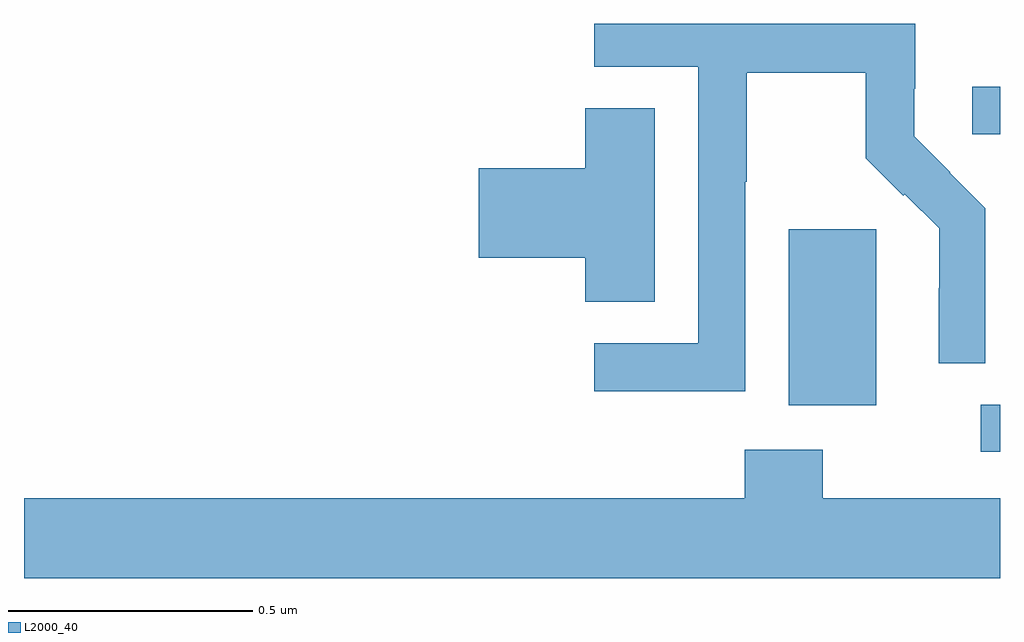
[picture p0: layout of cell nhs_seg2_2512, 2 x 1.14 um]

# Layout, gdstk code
import gdstk
lib = gdstk.Library(unit=1e-6, precision=1e-09)
def R(c, l, rs):  # rectangles x0, y0, x1, y1
    for r in rs: c.add(gdstk.rectangle(r[:2], r[2:], *l))
def P(c, l, *ps):  # polygons
    for p in ps: c.add(gdstk.Polygon(p, *l))
L2000_40 = (2000, 40)

nhs_seg2_2512 = lib.new_cell('nhs_seg2_2512')
R(nhs_seg2_2512, L2000_40, [(143.961,619.923,144,620.019), (143.567,620.018,143.746,620.379), (143.943,620.574,144,620.671)])
P(nhs_seg2_2512, L2000_40, [(143.478,620.476),(143.481,620.476),(143.481,620.7),(143.725,620.7),(143.725,620.525),(143.802,620.448),(143.805,620.451),(143.876,620.381),(143.876,620.258),(143.874,620.258),(143.874,620.104),(143.97,620.104),(143.97,620.422),(143.897,620.495),(143.898,620.496),(143.824,620.57),(143.824,620.667),(143.826,620.667),(143.826,620.8),(143.169,620.8),(143.169,620.712),(143.382,620.712),(143.382,620.145),(143.169,620.145),(143.169,620.047),(143.478,620.047)],
  [(143.293,620.627),(143.15,620.627),(143.15,620.504),(142.932,620.504),(142.932,620.321),(143.15,620.321),(143.15,620.23),(143.293,620.23)],
  [(144,619.828),(143.637,619.828),(143.637,619.927),(143.477,619.927),(143.477,619.828),(142,619.828),(142,619.664),(144,619.664)])

lib.write_gds('nhs_seg2_2512.gds')
